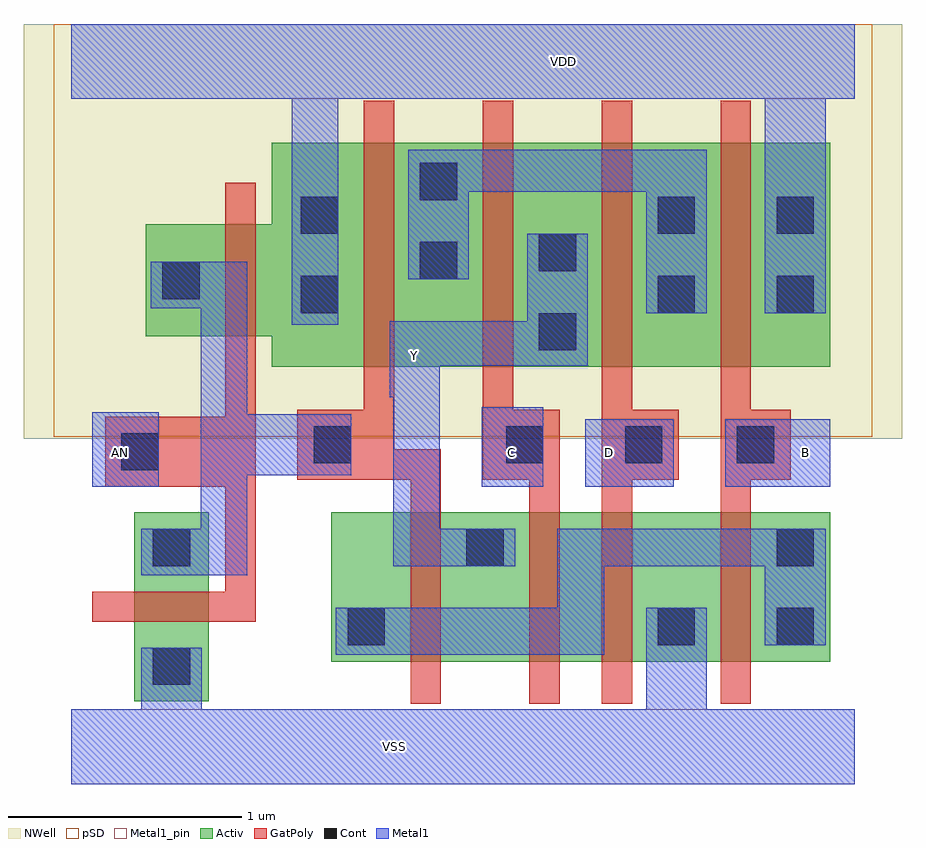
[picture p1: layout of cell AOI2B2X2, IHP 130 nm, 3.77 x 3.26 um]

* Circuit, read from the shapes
.subckt AOI2B2X2 AN B C D VDD VSS Y
XM1 n1 AN VSS VSUBS sg13_lv_nmos w=0.32u l=0.13u
XM2 Y n1 n2 VSUBS sg13_lv_nmos w=0.64u l=0.13u
XM3 n3 C Y VSUBS sg13_lv_nmos w=0.64u l=0.13u
XM4 VSS D n3 VSUBS sg13_lv_nmos w=0.64u l=0.13u
XM5 n2 B VSS VSUBS sg13_lv_nmos w=0.64u l=0.13u
XM6 VDD AN n1 n4 sg13_lv_pmos w=0.48u l=0.13u
XM7 n5 n1 VDD n4 sg13_lv_pmos w=0.96u l=0.13u
XM8 Y C n5 n4 sg13_lv_pmos w=0.96u l=0.13u
XM9 n5 D Y n4 sg13_lv_pmos w=0.96u l=0.13u
XM10 VDD B n5 n4 sg13_lv_pmos w=0.96u l=0.13u
.ends

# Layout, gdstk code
import gdstk
lib = gdstk.Library(unit=1e-6, precision=1e-09)
def R(c, l, rs):  # rectangles x0, y0, x1, y1
    for r in rs: c.add(gdstk.rectangle(r[:2], r[2:], *l))
def P(c, l, *ps):  # polygons
    for p in ps: c.add(gdstk.Polygon(p, *l))
Activ = (1, 0)
GatPoly = (5, 0)
Cont = (6, 0)
Metal1 = (8, 0)
Metal1_pin = (8, 2)
pSD = (14, 0)
NWell = (31, 0)

aoi2b2x2 = lib.new_cell('AOI2B2X2')
R(aoi2b2x2, Activ, [(0.27,0.195,0.59,1.005), (1.115,0.365,3.255,1.005)])
P(aoi2b2x2, Activ, [(0.86,1.63),(0.86,1.76),(0.32,1.76),(0.32,2.24),(0.86,2.24),(0.86,2.59),(3.255,2.59),(3.255,1.63)])
P(aoi2b2x2, GatPoly, [(0.09,0.535),(0.09,0.665),(0.66,0.665),(0.66,1.115),(0.145,1.115),(0.145,1.415),(0.66,1.415),(0.66,2.42),(0.79,2.42),(0.79,0.535)],
  [(2.785,0.185),(2.785,2.77),(2.915,2.77),(2.915,1.445),(3.085,1.445),(3.085,1.145),(2.915,1.145),(2.915,0.185)],
  [(2.275,0.185),(2.275,2.77),(2.405,2.77),(2.405,1.445),(2.605,1.445),(2.605,1.145),(2.405,1.145),(2.405,0.185)],
  [(1.965,0.185),(1.965,1.145),(1.765,1.145),(1.765,2.77),(1.895,2.77),(1.895,1.445),(2.095,1.445),(2.095,0.185)],
  [(1.455,0.185),(1.455,1.145),(0.97,1.145),(0.97,1.445),(1.255,1.445),(1.255,2.77),(1.385,2.77),(1.385,1.275),(1.585,1.275),(1.585,0.185)])
R(aoi2b2x2, Cont, [(0.35,0.265,0.51,0.425), (1.185,0.435,1.345,0.595), (2.515,0.435,2.675,0.595), (3.025,0.435,3.185,0.595), (0.35,0.775,0.51,0.935), (1.695,0.775,1.855,0.935), (3.025,0.775,3.185,0.935), (0.215,1.185,0.375,1.345), (1.04,1.215,1.2,1.375), (1.865,1.215,2.025,1.375), (2.375,1.215,2.535,1.375), (2.855,1.215,3.015,1.375), (2.005,1.7,2.165,1.86), (0.985,1.86,1.145,2.02), (2.515,1.86,2.675,2.02), (3.025,1.86,3.185,2.02), (0.39,1.92,0.55,2.08), (1.495,2.005,1.655,2.165), (2.005,2.04,2.165,2.2), (0.985,2.2,1.145,2.36), (2.515,2.2,2.675,2.36), (3.025,2.2,3.185,2.36), (1.495,2.345,1.655,2.505)])
R(aoi2b2x2, Metal1, [(0.09,1.115,0.375,1.435), (1.76,1.115,2.025,1.455), (2.205,1.115,2.585,1.405), (2.805,1.115,3.255,1.405)])
P(aoi2b2x2, Metal1, [(1.38,0.775),(1.38,1.5),(1.365,1.5),(1.365,1.825),(1.955,1.825),(1.955,2.2),(2.215,2.2),(2.215,1.635),(1.58,1.635),(1.58,0.935),(1.905,0.935),(1.905,0.775)],
  [(0.945,1.81),(0.945,2.78),(0,2.78),(0,3.1),(3.36,3.1),(3.36,2.78),(3.235,2.78),(3.235,1.86),(2.975,1.86),(2.975,2.78),(1.145,2.78),(1.145,1.81)],
  [(0.3,0.735),(0.3,0.935),(0.555,0.935),(0.555,1.88),(0.34,1.88),(0.34,2.08),(0.755,2.08),(0.755,1.425),(1.2,1.425),(1.2,1.165),(0.755,1.165),(0.755,0.735)],
  [(0,-0.16),(0,0.16),(0.3,0.16),(0.3,0.425),(0.56,0.425),(0.56,0.16),(2.465,0.16),(2.465,0.595),(2.725,0.595),(2.725,0.16),(3.36,0.16),(3.36,-0.16)],
  [(2.465,1.86),(2.465,2.38),(1.705,2.38),(1.705,2.005),(1.445,2.005),(1.445,2.56),(2.725,2.56),(2.725,1.86)],
  [(1.135,0.395),(1.135,0.595),(2.085,0.595),(2.085,0.935),(3.235,0.935),(3.235,0.435),(2.975,0.435),(2.975,0.775),(2.285,0.775),(2.285,0.395)])
R(aoi2b2x2, Metal1_pin, [(0,-0.16,3.36,0.16), (0.09,1.115,0.375,1.435), (1.76,1.115,2.025,1.455), (2.205,1.115,2.585,1.405), (2.805,1.115,3.255,1.405), (1.365,1.5,1.58,1.825), (0,2.78,3.36,3.1)])
P(aoi2b2x2, Metal1_pin, [(1.365,1.635),(1.365,1.825),(1.955,1.825),(1.955,2.2),(2.215,2.2),(2.215,1.635)],
  [(1.38,0.775),(1.38,1.5),(1.58,1.5),(1.58,0.935),(1.905,0.935),(1.905,0.775)])
R(aoi2b2x2, pSD, [(-0.075,1.33,3.435,3.1)])
R(aoi2b2x2, NWell, [(-0.205,1.32,3.565,3.1)])
aoi2b2x2.add(gdstk.Label('VSS', (1.385,0), layer=8, texttype=25))
aoi2b2x2.add(gdstk.Label('VDD', (2.11,2.94), layer=8, texttype=25))
aoi2b2x2.add(gdstk.Label('B', (3.15,1.26), layer=8, texttype=25))
aoi2b2x2.add(gdstk.Label('Y', (1.47,1.68), layer=8, texttype=25))
aoi2b2x2.add(gdstk.Label('C', (1.89,1.26), layer=8, texttype=25))
aoi2b2x2.add(gdstk.Label('D', (2.31,1.26), layer=8, texttype=25))
aoi2b2x2.add(gdstk.Label('AN', (0.21,1.26), layer=8, texttype=25))

lib.write_gds('AOI2B2X2.gds')
